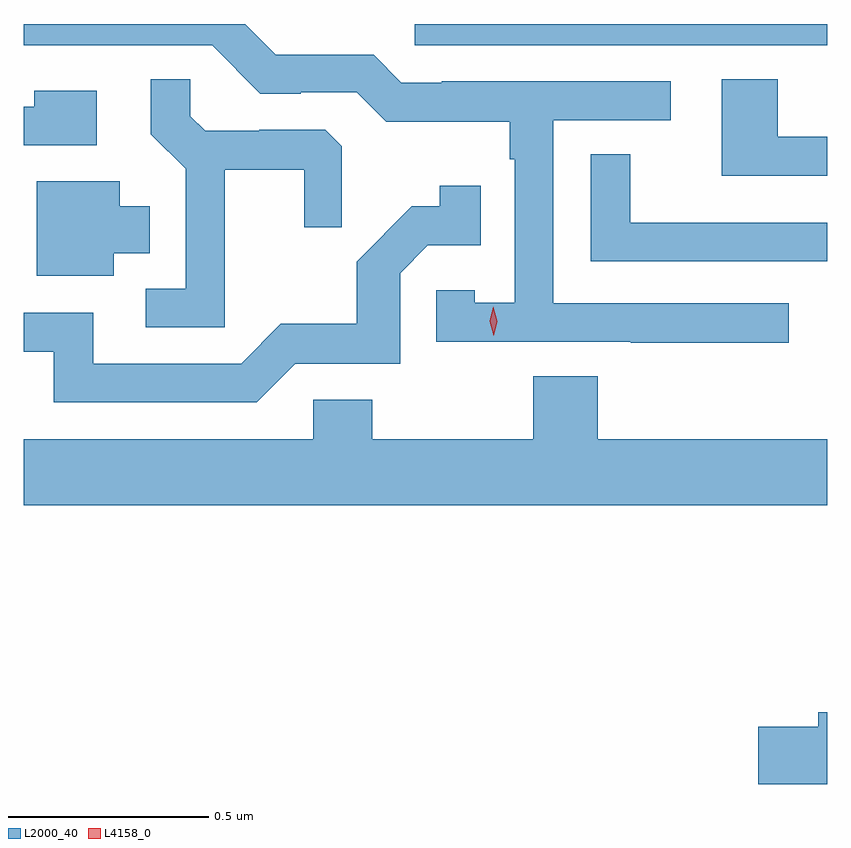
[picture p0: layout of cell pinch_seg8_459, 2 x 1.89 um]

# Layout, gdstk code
import gdstk
lib = gdstk.Library(unit=1e-6, precision=1e-09)
def R(c, l, rs):  # rectangles x0, y0, x1, y1
    for r in rs: c.add(gdstk.rectangle(r[:2], r[2:], *l))
def P(c, l, *ps):  # polygons
    for p in ps: c.add(gdstk.Polygon(p, *l))
L2000_40 = (2000, 40)
L4158_0 = (4158, 0)

pinch_seg8_459 = lib.new_cell('pinch_seg8_459')
R(pinch_seg8_459, L2000_40, [(358.731,1153.608,359.758,1153.661)])
P(pinch_seg8_459, L2000_40, [(359.662,1152.966),(359.076,1152.966),(359.076,1153.422),(359.368,1153.422),(359.368,1153.518),(358.798,1153.518),(358.798,1153.515),(358.698,1153.515),(358.629,1153.584),(358.386,1153.584),(358.309,1153.661),(357.758,1153.661),(357.758,1153.608),(358.227,1153.608),(358.347,1153.488),(358.448,1153.488),(358.448,1153.491),(358.587,1153.491),(358.66,1153.418),(358.968,1153.418),(358.968,1153.325),(358.98,1153.325),(358.98,1152.967),(358.881,1152.967),(358.881,1152.999),(358.785,1152.999),(358.785,1152.87),(359.269,1152.87),(359.269,1152.868),(359.662,1152.868)],
  [(359.758,1153.38),(359.635,1153.38),(359.635,1153.523),(359.495,1153.523),(359.495,1153.284),(359.758,1153.284)],
  [(358.259,1153.298),(358.456,1153.298),(358.456,1153.155),(358.55,1153.155),(358.55,1153.357),(358.509,1153.398),(358.344,1153.398),(358.344,1153.395),(358.21,1153.395),(358.173,1153.432),(358.173,1153.523),(358.075,1153.523),(358.075,1153.387),(358.161,1153.301),(358.161,1153.002),(358.062,1153.002),(358.062,1152.906),(358.259,1152.906)],
  [(357.94,1153.495),(357.784,1153.495),(357.784,1153.455),(357.758,1153.455),(357.758,1153.359),(357.94,1153.359)],
  [(359.758,1153.166),(359.663,1153.166),(359.663,1153.167),(359.268,1153.167),(359.268,1153.337),(359.169,1153.337),(359.169,1153.071),(359.758,1153.071)],
  [(357.982,1153.091),(358.072,1153.091),(358.072,1153.207),(357.997,1153.207),(357.997,1153.27),(357.791,1153.27),(357.791,1153.034),(357.982,1153.034)],
  [(358.434,1152.816),(358.695,1152.816),(358.695,1153.041),(358.764,1153.11),(358.895,1153.11),(358.895,1153.258),(358.794,1153.258),(358.794,1153.208),(358.724,1153.208),(358.587,1153.07),(358.587,1152.915),(358.398,1152.915),(358.299,1152.816),(357.931,1152.816),(357.931,1152.942),(357.758,1152.942),(357.758,1152.846),(357.833,1152.846),(357.833,1152.72),(358.338,1152.72)],
  [(359.758,1152.628),(359.186,1152.628),(359.186,1152.785),(359.026,1152.785),(359.026,1152.628),(358.626,1152.628),(358.626,1152.726),(358.479,1152.726),(358.479,1152.628),(357.758,1152.628),(357.758,1152.464),(359.758,1152.464)],
  [(359.758,1151.948),(359.735,1151.948),(359.735,1151.912),(359.586,1151.912),(359.586,1151.77),(359.758,1151.77)])
P(pinch_seg8_459, L4158_0, [(358.928,1152.885),(358.928,1152.885),(358.918,1152.921),(358.927,1152.957),(358.927,1152.957),(358.927,1152.957),(358.937,1152.922),(358.928,1152.885)])

lib.write_gds('pinch_seg8_459.gds')
